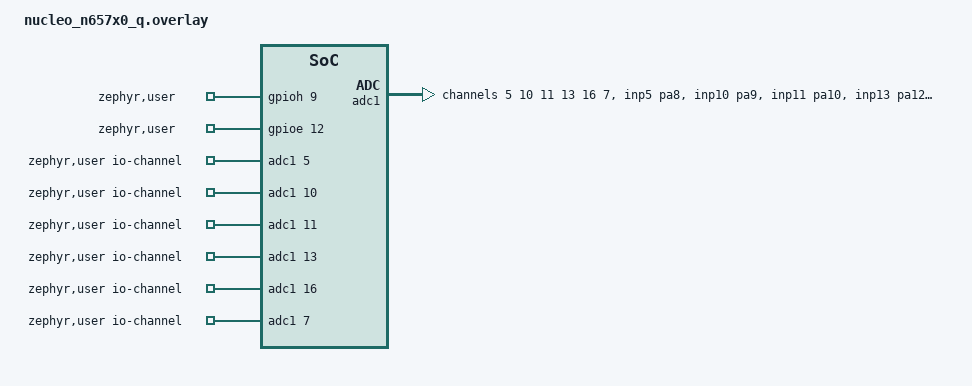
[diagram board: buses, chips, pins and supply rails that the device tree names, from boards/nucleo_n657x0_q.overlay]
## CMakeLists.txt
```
cmake_minimum_required(VERSION 3.20.0)
find_package(Zephyr REQUIRED HINTS $ENV{ZEPHYR_BASE})

project(PID_n6)

target_sources(app PRIVATE src/main.c)
```

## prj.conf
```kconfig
# ── Core ADC ─────────────────────────────────────────────────────────────────
CONFIG_ADC=y

# ── Serial console (USART1, 115200 8N1 on NUCLEO-N657X0-Q) ───────────────────
CONFIG_SERIAL=y
CONFIG_UART_INTERRUPT_DRIVEN=y
CONFIG_CONSOLE=y
CONFIG_UART_CONSOLE=y

# ── Heap / stack sizes (defaults are fine for this sample) ───────────────────
CONFIG_MAIN_STACK_SIZE=2048
CONFIG_ADC_LOG_LEVEL_DBG=y
CONFIG_CBPRINTF_FP_SUPPORT=y

CONFIG_NEWLIB_LIBC=y
CONFIG_CBPRINTF_FP_SUPPORT=y
CONFIG_FPU=y
```

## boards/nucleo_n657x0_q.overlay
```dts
/*
 * Devicetree overlay for nucleo_n657x0_q
 *
 * zephyr,user node exposes:
 *   - gpios[0] = SCL = PH9  (open-drain, pulled-up) -> bit-banged I2C
 *   - gpios[1] = SDA = PE12 (open-drain, pulled-up) -> bit-banged I2C
 *   - io-channels[0..5] = ADC1 INP5/10/11/13/16/7   -> 6-channel ADC read
 */

#include <zephyr/dt-bindings/gpio/gpio.h>

/ {
	zephyr,user {
		gpios = <&gpioh 9  (GPIO_OPEN_DRAIN | GPIO_PULL_UP)>,
			<&gpioe 12 (GPIO_OPEN_DRAIN | GPIO_PULL_UP)>;

		io-channels = <&adc1 5>,
			      <&adc1 10>,
			      <&adc1 11>,
			      <&adc1 13>,
			      <&adc1 16>,
			      <&adc1 7>;
	};
};

&adc1 {
	clocks = <&rcc STM32_CLOCK(AHB1, 5)>, <&rcc STM32_SRC_CKPER ADC12_SEL(1)>;
	clock-names = "adcx", "adc_ker";
	pinctrl-0 = <&adc1_inp5_pa8 &adc1_inp10_pa9 &adc1_inp11_pa10 &adc1_inp13_pa12 &adc1_inp16_pf3 &adc1_inp7_pg15>;
	pinctrl-names = "default";
	vref-mv = <1800>;
	#address-cells = <1>;
	#size-cells = <0>;
	status = "okay";

	channel@5 {
		reg = <5>;
		zephyr,gain             = "ADC_GAIN_1";
		zephyr,reference        = "ADC_REF_INTERNAL";
		zephyr,acquisition-time = <ADC_ACQ_TIME_DEFAULT>;
		zephyr,resolution       = <12>;
	};

	channel@a {
		reg = <10>;
		zephyr,gain             = "ADC_GAIN_1";
		zephyr,reference        = "ADC_REF_INTERNAL";
		zephyr,acquisition-time = <ADC_ACQ_TIME_DEFAULT>;
		zephyr,resolution       = <12>;
	};

	channel@b {
		reg = <11>;
		zephyr,gain             = "ADC_GAIN_1";
		zephyr,reference        = "ADC_REF_INTERNAL";
		zephyr,acquisition-time = <ADC_ACQ_TIME_DEFAULT>;
		zephyr,resolution       = <12>;
	};

	channel@d {
		reg = <13>;
		zephyr,gain             = "ADC_GAIN_1";
		zephyr,reference        = "ADC_REF_INTERNAL";
		zephyr,acquisition-time = <ADC_ACQ_TIME_DEFAULT>;
		zephyr,resolution       = <12>;
	};

	channel@10 {
		reg = <16>;
		zephyr,gain             = "ADC_GAIN_1";
		zephyr,reference        = "ADC_REF_INTERNAL";
		zephyr,acquisition-time = <ADC_ACQ_TIME_DEFAULT>;
		zephyr,resolution       = <12>;
	};

	channel@7 {
		reg = <7>;
		zephyr,gain             = "ADC_GAIN_1";
		zephyr,reference        = "ADC_REF_INTERNAL";
		zephyr,acquisition-time = <ADC_ACQ_TIME_DEFAULT>;
		zephyr,resolution       = <12>;
	};
};
```

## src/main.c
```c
/*
 * ADC (6ch) + Bit-banged I2C AD5694 quad DAC, PID-smoothed, with
 * live gain tuning + character echo over the serial console.
 *
 * CH0 -> DAC A & DAC C (via pid_AC)
 * CH5 -> DAC B & DAC D (via pid_BD)
 *
 * Type a command and hit Enter, characters echo as you type:
 *   kp,ki,kd        -> sets Kp/Ki/Kd on BOTH loops
 *   AC kp ki kd      -> sets Kp/Ki/Kd on the CH0->A/C loop only
 *   BD kp ki kd      -> sets Kp/Ki/Kd on the CH5->B/D loop only
 */

#include <zephyr/kernel.h>
#include <zephyr/device.h>
#include <zephyr/drivers/gpio.h>
#include <zephyr/drivers/adc.h>
#include <zephyr/drivers/uart.h>
#include <zephyr/sys/printk.h>
#include <stdlib.h>
#include <string.h>

/* ============================= *
 *      I2C BIT-BANG CONFIG      *
 * ============================= */
#define I2C_DELAY_US 5U

static const struct gpio_dt_spec scl =
	GPIO_DT_SPEC_GET_BY_IDX(DT_PATH(zephyr_user), gpios, 0);
static const struct gpio_dt_spec sda =
	GPIO_DT_SPEC_GET_BY_IDX(DT_PATH(zephyr_user), gpios, 1);

/* ============================= *
 *         AD5694 CONFIG         *
 * ============================= */
#define AD5694_I2C_ADDR   0x0C

#define AD5694_CMD_WRITE_UPDATE_A 0x31
#define AD5694_CMD_WRITE_UPDATE_B 0x32
#define AD5694_CMD_WRITE_UPDATE_C 0x34
#define AD5694_CMD_WRITE_UPDATE_D 0x38

#define DAC_VREF 5.0f

static inline void scl_high(void) { gpio_pin_set_dt(&scl, 1); }
static inline void scl_low(void)  { gpio_pin_set_dt(&scl, 0); }
static inline void sda_high(void) { gpio_pin_set_dt(&sda, 1); }
static inline void sda_low(void)  { gpio_pin_set_dt(&sda, 0); }
static inline int  sda_read(void) { return gpio_pin_get_dt(&sda); }

static void i2c_start(void)
{
	sda_high(); scl_high(); k_busy_wait(I2C_DELAY_US);
	sda_low();  k_busy_wait(I2C_DELAY_US);
	scl_low();  k_busy_wait(I2C_DELAY_US);
}

static void i2c_stop(void)
{
	sda_low();  k_busy_wait(I2C_DELAY_US);
	scl_high(); k_busy_wait(I2C_DELAY_US);
	sda_high(); k_busy_wait(I2C_DELAY_US);
}

static int i2c_write_byte(uint8_t byte)
{
	for (int i = 0; i < 8; i++) {
		if (byte & 0x80) sda_high(); else sda_low();
		k_busy_wait(I2C_DELAY_US);
		scl_high(); k_busy_wait(I2C_DELAY_US);
		scl_low();
		byte <<= 1;
		k_busy_wait(I2C_DELAY_US);
	}
	sda_high(); k_busy_wait(I2C_DELAY_US);
	scl_high(); k_busy_wait(I2C_DELAY_US);
	int ack = (sda_read() == 0) ? 0 : 1;
	scl_low(); k_busy_wait(I2C_DELAY_US);
	return ack;
}

static int i2c_bitbang_init(void)
{
	if (!gpio_is_ready_dt(&scl) || !gpio_is_ready_dt(&sda)) {
		printk("GPIO controller not ready\n");
		return -ENODEV;
	}
	int ret = gpio_pin_configure_dt(&scl, GPIO_OUTPUT_HIGH);
	if (ret) return ret;
	ret = gpio_pin_configure_dt(&sda, GPIO_OUTPUT_HIGH | GPIO_INPUT);
	if (ret) return ret;
	return 0;
}

static bool AD5694_WriteChannel(uint8_t channel_cmd, uint16_t code)
{
	code &= 0x0FFF;
	uint8_t msb = (uint8_t)((code >> 4) & 0xFF);
	uint8_t lsb = (uint8_t)((code & 0x0F) << 4);

	i2c_start();
	int ack_addr = i2c_write_byte((uint8_t)(AD5694_I2C_ADDR << 1));
	int ack_cmd  = i2c_write_byte(channel_cmd);
	int ack_msb  = i2c_write_byte(msb);
	int ack_lsb  = i2c_write_byte(lsb);
	i2c_stop();

	return (ack_addr == 0 && ack_cmd == 0 && ack_msb == 0 && ack_lsb == 0);
}

static inline uint16_t voltage_to_code(float v)
{
	if (v < 0.0f) v = 0.0f;
	if (v > DAC_VREF) v = DAC_VREF;
	return (uint16_t)((v / DAC_VREF) * 4095.0f + 0.5f);
}

/* ============================= *
 *          ADC CONFIG           *
 * ============================= */
#define NUM_CHANNELS 6

static const struct adc_dt_spec adc_ch[NUM_CHANNELS] = {
	ADC_DT_SPEC_GET_BY_IDX(DT_PATH(zephyr_user), 0),
	ADC_DT_SPEC_GET_BY_IDX(DT_PATH(zephyr_user), 1),
	ADC_DT_SPEC_GET_BY_IDX(DT_PATH(zephyr_user), 2),
	ADC_DT_SPEC_GET_BY_IDX(DT_PATH(zephyr_user), 3),
	ADC_DT_SPEC_GET_BY_IDX(DT_PATH(zephyr_user), 4),
	ADC_DT_SPEC_GET_BY_IDX(DT_PATH(zephyr_user), 5),
};

static int32_t calibrated_mv(uint16_t raw)
{
	return ((int32_t)raw * 5000) / 2935;
}

/* ============================= *
 *          PID CONFIG           *
 * ============================= */
typedef struct {
	float kp, ki, kd;
	float integral;
	float prev_error;
	float output;
} pid_t;

#define PID_PERIOD_MS 100
#define PID_DT        (PID_PERIOD_MS / 1000.0f)
#define INTEGRAL_MAX  10.0f

static pid_t pid_AC = { .kp = 0.8f, .ki = 0.5f, .kd = 0.05f };
static pid_t pid_BD = { .kp = 0.8f, .ki = 0.5f, .kd = 0.05f };

static float pid_update(pid_t *p, float setpoint, float dt)
{
	float error = setpoint - p->output;

	p->integral += error * dt;
	if (p->integral > INTEGRAL_MAX) p->integral = INTEGRAL_MAX;
	if (p->integral < -INTEGRAL_MAX) p->integral = -INTEGRAL_MAX;

	float derivative = (dt > 0.0f) ? (error - p->prev_error) / dt : 0.0f;
	p->prev_error = error;

	float out = p->output + (p->kp * error) + (p->ki * p->integral) + (p->kd * derivative);
	if (out < 0.0f) out = 0.0f;
	if (out > DAC_VREF) out = DAC_VREF;

	p->output = out;
	return out;
}

static void apply_gains(pid_t *p, float kp, float ki, float kd)
{
	p->kp = kp;
	p->ki = ki;
	p->kd = kd;
	p->integral = 0.0f;
	p->prev_error = 0.0f;
}

/* ============================= *
 *      SERIAL COMMAND INPUT     *
 * ============================= */
#define UART_DEVICE_NODE DT_CHOSEN(zephyr_shell_uart)
#define BUFFER_SIZE 128

static const struct device *uart_dev;
static char line_buf[BUFFER_SIZE];
static int line_pos = 0;

static bool parse_three_floats(const char *str, float *a, float *b, float *c)
{
	char *end;

	*a = strtof(str, &end);
	if (end == str) return false;
	str = end;
	while (*str == ',' || *str == ' ') str++;

	*b = strtof(str, &end);
	if (end == str) return false;
	str = end;
	while (*str == ',' || *str == ' ') str++;

	*c = strtof(str, &end);
	if (end == str) return false;

	return true;
}

static void process_command(char *line)
{
	char *s = line;
	while (*s == ' ') s++;
	if (*s == '\0') return;

	float kp, ki, kd;

	if ((s[0] == 'A' || s[0] == 'a') && (s[1] == 'C' || s[1] == 'c')) {
		if (parse_three_floats(s + 2, &kp, &ki, &kd)) {
			apply_gains(&pid_AC, kp, ki, kd);
			printk("[PID] AC loop -> Kp=%.3f Ki=%.3f Kd=%.3f\n", kp, ki, kd);
		} else {
			printk("[PID] Bad format. Use: AC kp ki kd\n");
		}
		return;
	}

	if ((s[0] == 'B' || s[0] == 'b') && (s[1] == 'D' || s[1] == 'd')) {
		if (parse_three_floats(s + 2, &kp, &ki, &kd)) {
			apply_gains(&pid_BD, kp, ki, kd);
			printk("[PID] BD loop -> Kp=%.3f Ki=%.3f Kd=%.3f\n", kp, ki, kd);
		} else {
			printk("[PID] Bad format. Use: BD kp ki kd\n");
		}
		return;
	}

	if (parse_three_floats(s, &kp, &ki, &kd)) {
		apply_gains(&pid_AC, kp, ki, kd);
		apply_gains(&pid_BD, kp, ki, kd);
		printk("[PID] Both loops -> Kp=%.3f Ki=%.3f Kd=%.3f\n", kp, ki, kd);
		return;
	}

	printk("[PID] Unrecognized: \"%s\"\n", s);
	printk("      Usage: 'kp,ki,kd'  |  'AC kp ki kd'  |  'BD kp ki kd'\n");
}

/* Called every 1ms from main. Echoes as you type, dispatches on Enter. */
static void console_poll_and_handle(void)
{
	unsigned char c;

	if (uart_poll_in(uart_dev, &c) == 0) {

		if (c == '\r' || c == '\n') {
			line_buf[line_pos] = '\0';
			uart_poll_out(uart_dev, '\n');
			if (line_pos > 0) {
				process_command(line_buf);
			}
			line_pos = 0;
			uart_poll_out(uart_dev, '>');
			uart_poll_out(uart_dev, ' ');
		}
		else if (c == '\b' || c == 127) {
			if (line_pos > 0) {
				line_pos--;
				uart_poll_out(uart_dev, '\b');
				uart_poll_out(uart_dev, ' ');
				uart_poll_out(uart_dev, '\b');
			}
		}
		else {
			if (line_pos < BUFFER_SIZE - 1) {
				line_buf[line_pos++] = (char)c;
				uart_poll_out(uart_dev, c);   /* echo */
			}
		}
	}
}

/* ---------------- Main ---------------- */
int main(void)
{
	int ret = i2c_bitbang_init();
	if (ret) {
		printk("I2C bit-bang init failed: %d\n", ret);
		return ret;
	}

	uart_dev = DEVICE_DT_GET(UART_DEVICE_NODE);
	if (!device_is_ready(uart_dev)) {
		printk("UART not ready!\n");
		return 0;
	}

	for (int i = 0; i < NUM_CHANNELS; i++) {
		ret = adc_channel_setup_dt(&adc_ch[i]);
		if (ret < 0) {
			printk("ADC channel %d setup failed: %d\n", i, ret);
			return ret;
		}
	}

	printk("\nReady. Enter PID gains: 'kp,ki,kd' | 'AC kp ki kd' | 'BD kp ki kd'\n> ");

	float adc_v[NUM_CHANNELS];
	uint32_t buf;
	struct adc_sequence seq = { .buffer = &buf, .buffer_size = sizeof(buf) };

	int64_t next_pid_run = k_uptime_get() + PID_PERIOD_MS;

	while (1) {
		/* Poll UART every ~1ms so typing feels instant, never blocks */
		console_poll_and_handle();

		/* Run the ADC->PID->DAC cycle only every PID_PERIOD_MS,
		 * without blocking the UART poll above. */
		if (k_uptime_get() >= next_pid_run) {
			next_pid_run += PID_PERIOD_MS;

			for (int i = 0; i < NUM_CHANNELS; i++) {
				adc_sequence_init_dt(&adc_ch[i], &seq);
				ret = adc_read_dt(&adc_ch[i], &seq);
				if (ret < 0) {
					adc_v[i] = 0.0f;
					continue;
				}
				uint16_t raw = (uint16_t)(buf & 0xFFFF);
				adc_v[i] = calibrated_mv(raw) / 1000.0f;
			}

			float out_AC = pid_update(&pid_AC, adc_v[0], PID_DT);
			float out_BD = pid_update(&pid_BD, adc_v[5], PID_DT);

			uint16_t code_AC = voltage_to_code(out_AC);
			uint16_t code_BD = voltage_to_code(out_BD);

			AD5694_WriteChannel(AD5694_CMD_WRITE_UPDATE_A, code_AC);
			AD5694_WriteChannel(AD5694_CMD_WRITE_UPDATE_C, code_AC);
			AD5694_WriteChannel(AD5694_CMD_WRITE_UPDATE_B, code_BD);
			AD5694_WriteChannel(AD5694_CMD_WRITE_UPDATE_D, code_BD);
		}

		k_msleep(1);
	}

	return 0;
}
```
